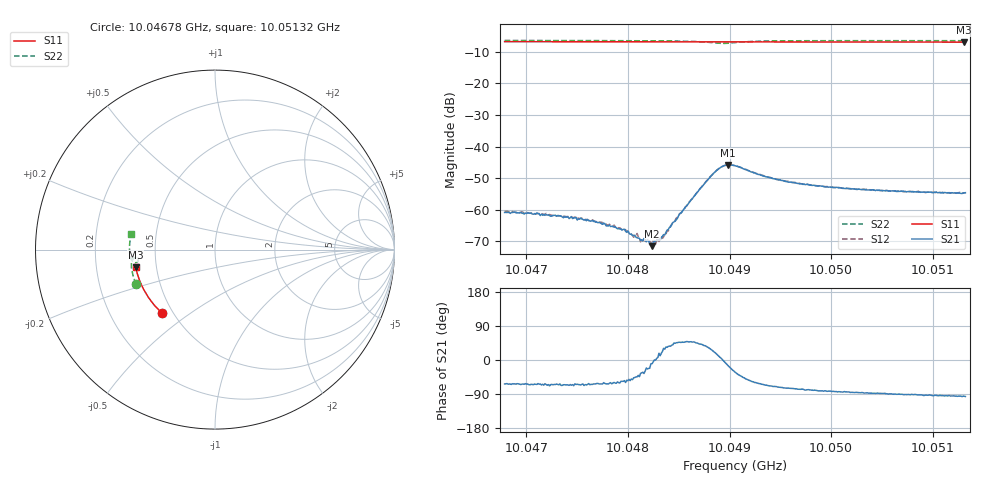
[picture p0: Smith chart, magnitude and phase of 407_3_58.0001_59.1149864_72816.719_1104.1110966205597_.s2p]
#  HZ  S  RI  R  50.00
! Rohde & Schwarz Vector Network Analyzer
! Rohde-Schwarz,ZNB20-2Port,1311601062101988,3.16
! Created: UTC 3/21/2024, 1:08:35 AM
! freq[Hz]  re:S11  im:S11  re:S21  im:S21  re:S12  im:S12  re:S22  im:S22
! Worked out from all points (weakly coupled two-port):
!   401 points, 10.04678 GHz to 10.05132 GHz, reference 50 ohm
!   highest |S21| = -45.84 dB at 10.04899 GHz (marker M1); lowest = -71.6 dB at 10.04824 GHz (marker M2)
!   lowest |S11| = -6.9 dB at 10.05131 GHz (marker M3), VSWR 2.65, Z = 19.1 - j4.68 ohm
!   |S11| at or under -10 dB: nowhere
!   |S22| runs from -7.3 to -6.4 dB; largest |S21 - S12| = 0.00035
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1.0046785e10  -0.2969 -0.3516  0.000407 -0.000808  0.000472 -0.000806  -0.44 -0.1927
1.0047103e10  -0.312 -0.3372  0.000383 -0.000799  0.000433 -0.000756  -0.4475 -0.1726
1.0047545e10  -0.3321 -0.3159  0.000307 -0.00064  0.000379 -0.000632  -0.4566 -0.1437
1.0047726e10  -0.34 -0.3069  0.000279 -0.000553  0.000334 -0.000537  -0.4598 -0.1312
1.0047942e10  -0.3491 -0.2959  0.000266 -0.000397  0.000288 -0.000381  -0.463 -0.1161
1.0048055e10  -0.3536 -0.2899  0.000267 -0.000288  0.000257 -0.000261  -0.4645 -0.1077
1.0048089e10  -0.355 -0.2882  0.000257 -0.000252  0.000295 -0.000298  -0.4648 -0.1053
1.0048146e10  -0.3573 -0.2854  0.000273 -0.000173  0.000274 -0.000164  -0.4654 -0.101
1.0048237e10  -0.3608 -0.2805  0.00026 -4.54e-05  0.000325 -3.25e-05  -0.466 -0.0939
1.0048293e10  -0.3631 -0.2776  0.000331 3.94e-05  0.000342 6.59e-05  -0.4663 -0.0893
1.0048305e10  -0.3635 -0.2768  0.00032 0.000103  0.000297 0.000102  -0.4662 -0.0882
1.0048361e10  -0.3654 -0.2738  0.00035 0.00019  0.000352 0.000203  -0.4663 -0.0835
1.0048486e10  -0.3704 -0.267  0.000508 0.000521  0.000508 0.000561  -0.4655 -0.0726
1.0048826e10  -0.3821 -0.2482  0.00318 0.00155  0.00308 0.00175  -0.4413 -0.0443
1.0048917e10  -0.385 -0.2431  0.00474 0.000366  0.0047 0.000648  -0.4286 -0.0523
1.0048985e10  -0.3872 -0.2393  0.00493 -0.00133  0.00506 -0.00103  -0.4291 -0.0643
1.0049053e10  -0.3896 -0.2358  0.00422 -0.00263  0.00442 -0.00238  -0.4382 -0.0715
1.0049439e10  -0.4016 -0.2134  0.00107 -0.0029  0.00125 -0.00285  -0.4704 -0.0446
1.0049813e10  -0.4121 -0.1912  0.000442 -0.00238  0.000564 -0.00239  -0.4757 -0.0142
1.0050573e10  -0.4296 -0.1446  2.04e-05 -0.00197  0.000156 -0.00198  -0.4749 0.0395
1.005131e10  -0.4413 -0.0978  -0.00018 -0.00184  -8.31e-05 -0.00183  -0.4679 0.0887
1.0051322e10  -0.4416 -0.0969  -0.000206 -0.00185  -9.95e-05 -0.00185  -0.4677 0.0893
